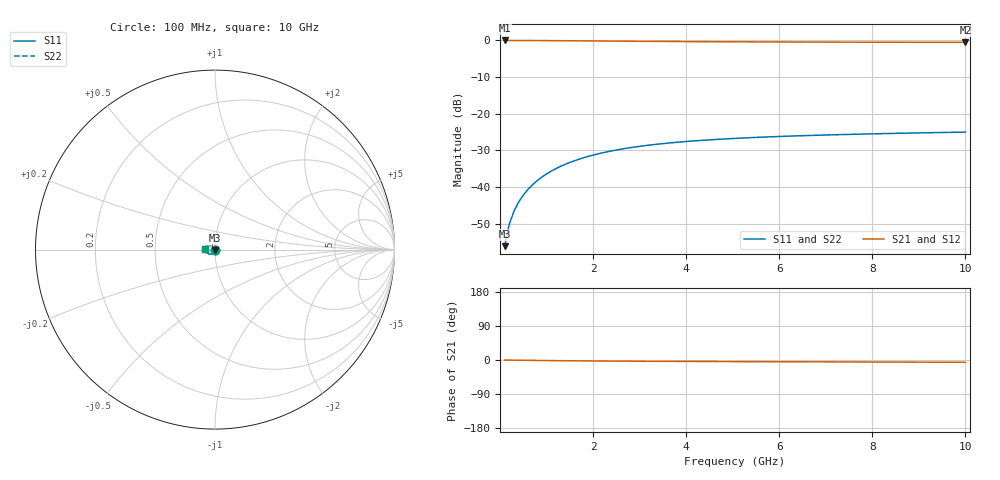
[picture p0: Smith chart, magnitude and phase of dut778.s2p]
! Touchstone file exported from HFSS 2024.1.0
!  File:  C:/UserFiles/LocalFiles/RDL_TSV_Batchsim/temp_TSV1_778_1779874272.aedt
!  Generated:  05:36:35 PM May 27, 2026
!  Design:  TSV1
!  Project:  temp_TSV1_778_1779874272
!  Setup:  Setup1
!  Solution:  Sweep
! Variables:
!  dtsv = 10.86um
!  hbump = 3um
!  htsv = 95.73um
!  lrdl = 252.1521522um
!  p = 40
!  p1 = 52.46um
!  t = 500um
!  trdl = 3um
!  wrdl = 24.89489489um
# GHz S MA R 50.000000
! Terminal data exported
! Port[1] = TSV22_T1
! Port[2] = TSV22_T2
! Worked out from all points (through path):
!   100 points, 100 MHz to 10 GHz, reference 50 ohm
!   highest |S21| = 0.00 dB at 100 MHz (marker M1); lowest = -0.5 dB at 10 GHz (marker M2)
!   lowest |S11| = -56.1 dB at 100 MHz (marker M3), VSWR 1.00, Z = 50 - j0.156 ohm
!   |S11| at or under -10 dB: start of sweep to end of sweep
!   |S22| runs from -56.1 to -25.0 dB; largest |S21 - S12| = 7.1e-15
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0.1  0.00156 -86.8  0.9998 -0.2  0.9998 -0.2  0.00156 -86.8
! Gamma 0 0 0 0
! Port Impedance 50 0 50 0
0.2  0.00311 -91.0  0.9996 -0.3  0.9996 -0.3  0.00311 -91.0
0.3  0.004659 -93.6  0.9994 -0.5  0.9994 -0.5  0.004659 -93.6
0.4  0.006202 -95.8  0.999 -0.6  0.999 -0.6  0.006202 -95.8
0.5  0.007733 -97.9  0.9986 -0.7  0.9986 -0.7  0.007733 -97.9
0.6  0.009247 -99.8  0.998 -0.9  0.998 -0.9  0.009247 -99.8
0.7  0.01074 -101.8  0.9974 -1.0  0.9974 -1.0  0.01074 -101.8
0.8  0.01221 -103.6  0.9967 -1.2  0.9967 -1.2  0.01221 -103.6
0.9  0.01365 -105.5  0.996 -1.3  0.996 -1.3  0.01365 -105.5
1.1  0.01645 -109.0  0.9943 -1.6  0.9943 -1.6  0.01645 -109.0
1.4  0.02038 -114.1  0.9913 -1.9  0.9913 -1.9  0.02038 -114.1
1.6  0.02283 -117.4  0.9892 -2.1  0.9892 -2.1  0.02283 -117.4
1.8  0.02512 -120.5  0.987 -2.3  0.987 -2.3  0.02512 -120.5
2.1  0.02827 -124.8  0.9837 -2.6  0.9837 -2.6  0.02827 -124.8
2.5  0.03197 -130.2  0.9793 -2.9  0.9793 -2.9  0.03197 -130.2
2.9  0.03516 -135.1  0.9751 -3.2  0.9751 -3.2  0.03516 -135.1
3.4  0.03851 -140.6  0.9702 -3.5  0.9702 -3.5  0.03851 -140.6
4.2  0.04272 -148.2  0.9636 -3.9  0.9636 -3.9  0.04272 -148.2
5.1  0.04626 -155.3  0.9578 -4.2  0.9578 -4.2  0.04626 -155.3
6.7  0.05062 -165.5  0.9503 -4.8  0.9503 -4.8  0.05062 -165.5
8.4  0.05382 -174.1  0.9452 -5.5  0.9452 -5.5  0.05381 -174.1
10  0.05613 179.1  0.9419 -6.0  0.9419 -6.0  0.05613 179.1
